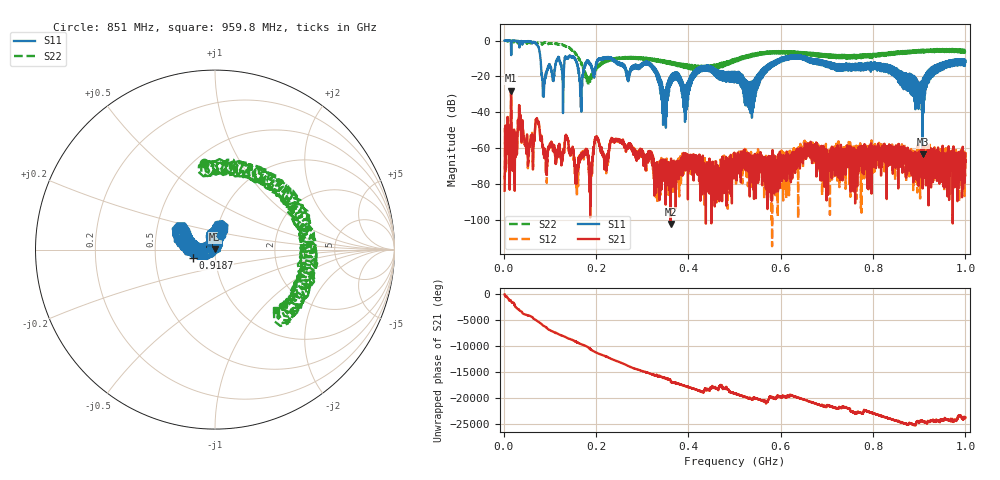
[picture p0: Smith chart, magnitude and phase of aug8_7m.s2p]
!Keysight Technologies N9923A: A.12.45
!Date: Friday, 08 August 2025 17:30:03
!Timezone: (UTC+08:00) Kuala Lumpur, Singapore
!Model: N9923A
!Serial: MY61181427
!GPS Latitude:
!GPS Longitude:
!GPS TimeStamp: 0001-01-01 00:00:00Z
!GPS Seconds Since Last Read: 0
!CHECKSUM:0283689465
!Correction: S11(ON U)S21(ON U)S12(ON U)S22(ON U)
!S2P File: Measurements:S11,S21,S12,S22:
# Hz S DB R 50
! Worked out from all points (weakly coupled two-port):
!   4001 points, 2 MHz to 1 GHz, reference 50 ohm
!   highest |S21| = -28.00 dB at 15.97 MHz (marker M1); lowest = -102.5 dB at 361.5 MHz (marker M2)
!   lowest |S11| = -63.5 dB at 907.4 MHz (marker M3), VSWR 1.00, Z = 50 + j0.0666 ohm
!   |S11| at or under -10 dB: 153.8 MHz to 206 MHz (52.2 MHz wide, 29 % of centre); 234.5 MHz to 599.5 MHz (365 MHz wide, 87.5 % of centre); 662.2 MHz to end of sweep (the widest 3 of 60)
!   |S22| runs from -24.9 to 0.0 dB; largest |S21 - S12| = 0.0017
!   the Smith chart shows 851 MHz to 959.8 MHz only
!   S11 on the Smith chart (normalised r, x): 851 MHz: 1.06, +0.17; 918.7 MHz: 0.78, -0.07; 959.8 MHz: 0.72, +0.13
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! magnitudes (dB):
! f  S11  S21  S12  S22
! 2 MHz  -0.1  -83.9  -76.3  0.0
! 15.97 MHz  -6.3  -28.0  -28.0  -1.1
! 35.68 MHz  -0.7  -45.6  -45.7  -0.8
! 56.39 MHz  -0.5  -59.0  -59.3  -1.1
! 73.11 MHz  -2.9  -45.1  -45.0  -1.7
! 86.58 MHz  -30.6  -63.7  -61.6  -1.5
! 145.2 MHz  -8.6  -64.2  -62.4  -4.9
! 168.4 MHz  -35.1  -63.3  -63.1  -13.0
! 180.6 MHz  -11.1  -61.8  -62.7  -22.4
! 249.3 MHz  -12.4  -55.5  -56.9  -10.0
! 334.8 MHz  -19.5  -73.5  -83.1  -11.9
! 348.3 MHz  -37.4  -67.3  -75.4  -12.6
! 361.5 MHz  -23.8  -102.5  -80.2  -13.3
! 501 MHz  -17.4  -64.4  -67.7  -12.1
! 535.2 MHz  -23.1  -65.7  -68.4  -8.2
! 667.4 MHz  -10.6  -64.2  -60.2  -7.4
! 833.8 MHz  -17.5  -63.2  -61.3  -7.3
! 851 MHz  -21.3  -61.4  -63.1  -6.2
! 907.4 MHz  -63.5  -82.6  -68.4  -6.5
! 918.7 MHz  -17.6  -60.8  -65.5  -5.1
! 959.8 MHz  -14.9  -77.7  -65.5  -6.4
! 1 GHz  -11.9  -63.0  -72.3  -5.9
